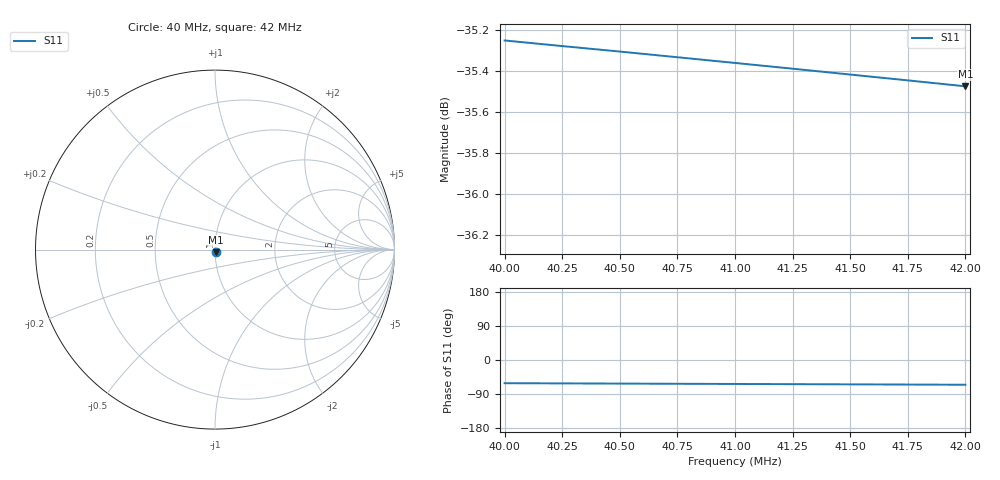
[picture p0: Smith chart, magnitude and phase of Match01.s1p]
# Hz S RI R 50
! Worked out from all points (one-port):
!   9 points, 40 MHz to 42 MHz, reference 50 ohm
!   lowest |S11| = -35.5 dB at 42 MHz (marker M1), VSWR 1.03, Z = 50.7 - j1.55 ohm
!   |S11| at or under -10 dB: start of sweep to end of sweep
4e7  0.00831 -0.0151
4.025e7  0.00815 -0.0152
4.05e7  0.00799 -0.0152
4.075e7  0.00784 -0.0152
4.1e7  0.00768 -0.0152
4.125e7  0.00752 -0.0153
4.15e7  0.00736 -0.0153
4.175e7  0.0072 -0.0153
4.2e7  0.00704 -0.0153
